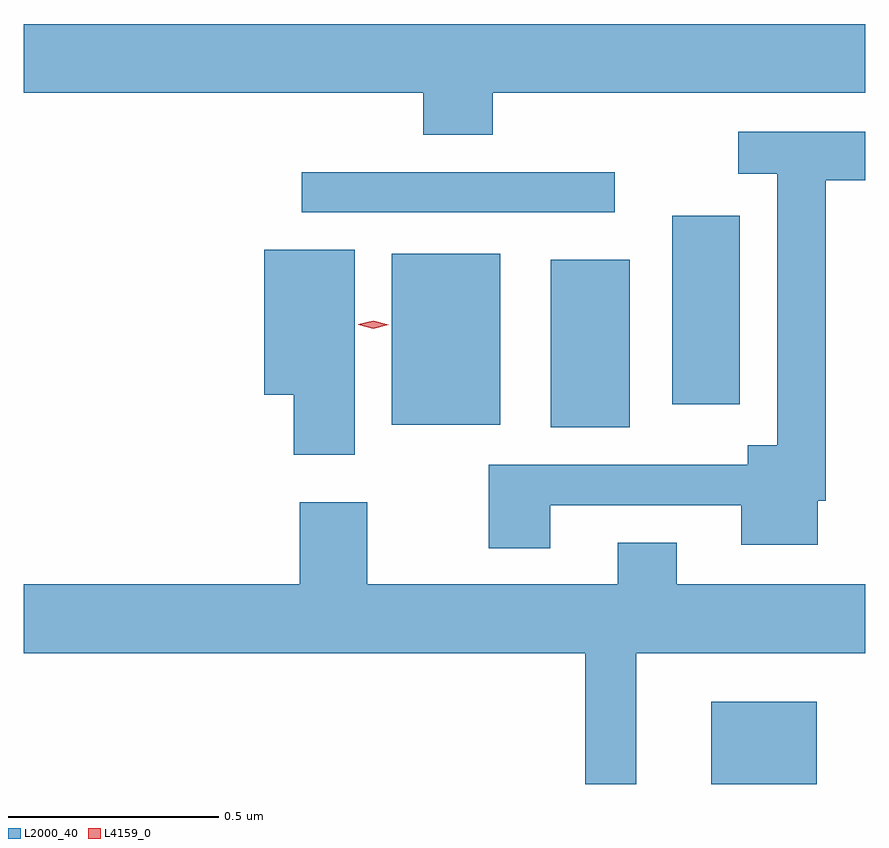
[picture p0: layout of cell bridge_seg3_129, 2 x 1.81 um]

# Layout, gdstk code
import gdstk
lib = gdstk.Library(unit=1e-6, precision=1e-09)
def R(c, l, rs):  # rectangles x0, y0, x1, y1
    for r in rs: c.add(gdstk.rectangle(r[:2], r[2:], *l))
def P(c, l, *ps):  # polygons
    for p in ps: c.add(gdstk.Polygon(p, *l))
L2000_40 = (2000, 40)
L4159_0 = (4159, 0)

bridge_seg3_129 = lib.new_cell('bridge_seg3_129')
R(bridge_seg3_129, L2000_40, [(366.365,679.293,366.616,679.489), (365.984,680.141,366.172,680.539), (365.606,680.147,365.863,680.554), (366.272,680.196,366.433,680.644), (365.391,680.652,366.136,680.748)])
P(bridge_seg3_129, L2000_40, [(365.846,680.936),(366.731,680.936),(366.731,681.1),(364.731,681.1),(364.731,680.936),(365.681,680.936),(365.681,680.837),(365.846,680.837)],
  [(365.983,679.956),(366.437,679.956),(366.437,679.862),(366.619,679.862),(366.619,679.966),(366.638,679.966),(366.638,680.728),(366.731,680.728),(366.731,680.844),(366.429,680.844),(366.429,680.744),(366.522,680.744),(366.522,680.098),(366.452,680.098),(366.452,680.052),(365.836,680.052),(365.836,679.854),(365.983,679.854)],
  [(365.518,680.563),(365.303,680.563),(365.303,680.219),(365.372,680.219),(365.372,680.076),(365.518,680.076)],
  [(366.187,679.604),(366.731,679.604),(366.731,679.768),(366.283,679.768),(366.283,679.867),(366.143,679.867),(366.143,679.768),(365.547,679.768),(365.547,679.963),(365.387,679.963),(365.387,679.768),(364.731,679.768),(364.731,679.604),(366.066,679.604),(366.066,679.293),(366.187,679.293)])
P(bridge_seg3_129, L4159_0, [(365.562,680.375),(365.526,680.385),(365.526,680.386),(365.526,680.386),(365.562,680.395),(365.598,680.385),(365.598,680.385),(365.598,680.385)])

lib.write_gds('bridge_seg3_129.gds')
